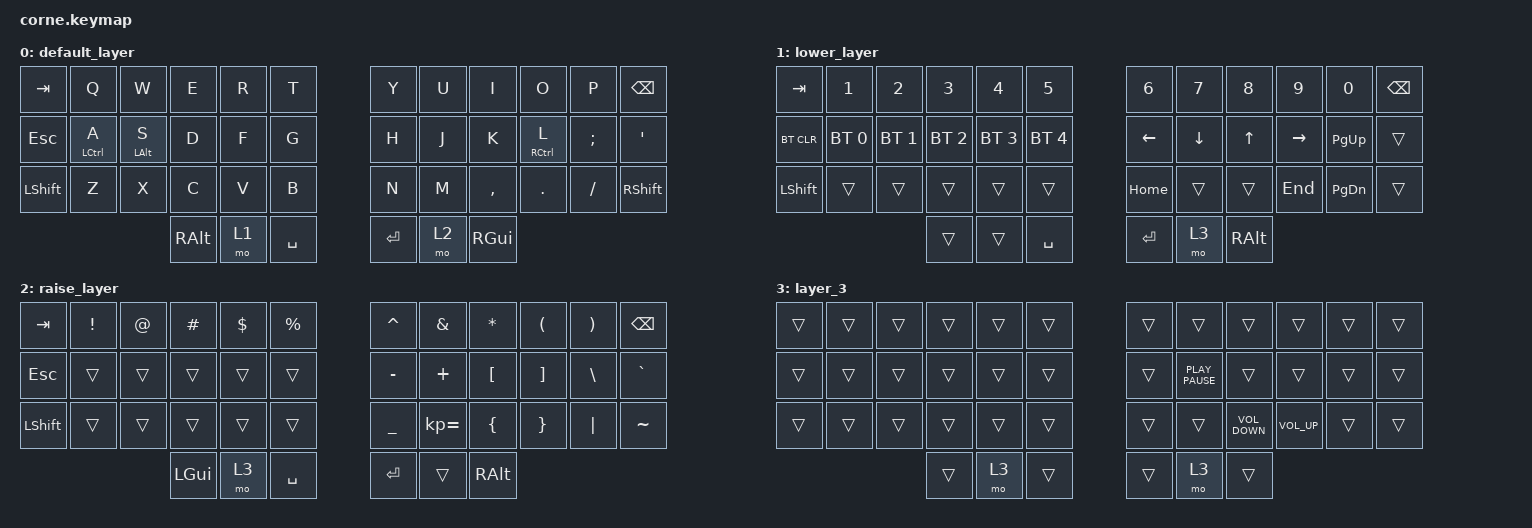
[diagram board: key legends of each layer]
/*
 * Copyright (c) 2020 The ZMK Contributors
 *
 * SPDX-License-Identifier: MIT
 */

#include <behaviors.dtsi>
#include <dt-bindings/zmk/bt.h>
#include <dt-bindings/zmk/keys.h>

/ {
    keymap {
        compatible = "zmk,keymap";

        default_layer {
            // -----------------------------------------------------------------------------------------
            // |  TAB |  Q  |  W  |  E  |  R  |  T  |   |  Y  |  U   |  I  |  O  |  P  | BSPC |
            // | CTRL |  A  |  S  |  D  |  F  |  G  |   |  H  |  J   |  K  |  L  |  ;  |  '   |
            // | SHFT |  Z  |  X  |  C  |  V  |  B  |   |  N  |  M   |  ,  |  .  |  /  | ESC  |
            //                    | GUI | LWR | SPC |   | ENT | RSE  | ALT |

            bindings = <
&kp TAB    &kp Q               &kp W           &kp E          &kp R  &kp T        &kp Y    &kp U  &kp I          &kp O                &kp P     &kp BSPC
&kp ESC    &mt LEFT_CONTROL A  &mt LEFT_ALT S  &kp D          &kp F  &kp G        &kp H    &kp J  &kp K          &mt RIGHT_CONTROL L  &kp SEMI  &kp SQT
&kp LSHFT  &kp Z               &kp X           &kp C          &kp V  &kp B        &kp N    &kp M  &kp COMMA      &kp DOT              &kp FSLH  &kp RIGHT_SHIFT
                                               &kp RIGHT_ALT  &mo 1  &kp SPACE    &kp RET  &mo 2  &kp RIGHT_GUI
            >;
        };

        lower_layer {
            // -----------------------------------------------------------------------------------------
            // |  TAB |  1  |  2  |  3  |  4  |  5  |   |  6  |  7  |  8  |  9  |  0  | BSPC |
            // | BTCLR| BT1 | BT2 | BT3 | BT4 | BT5 |   | LFT | DWN |  UP | RGT |     |      |
            // | SHFT |     |     |     |     |     |   |     |     |     |     |     |      |
            //                    | GUI |     | SPC |   | ENT |     | ALT |

            bindings = <
&kp TAB     &kp N1        &kp N2        &kp N3        &kp N4        &kp N5          &kp N6    &kp N7    &kp N8    &kp N9     &kp N0         &kp BSPC
&bt BT_CLR  &bt BT_SEL 0  &bt BT_SEL 1  &bt BT_SEL 2  &bt BT_SEL 3  &bt BT_SEL 4    &kp LEFT  &kp DOWN  &kp UP    &kp RIGHT  &kp PAGE_UP    &trans
&kp LSHFT   &trans        &trans        &trans        &trans        &trans          &kp HOME  &trans    &trans    &kp END    &kp PAGE_DOWN  &trans
                                        &trans        &trans        &kp SPACE       &kp RET   &mo 3     &kp RALT
            >;
        };

        raise_layer {
            // -----------------------------------------------------------------------------------------
            // |  TAB |  !  |  @  |  #  |  $  |  %  |   |  ^  |  &  |  *  |  (  |  )  | BSPC |
            // | CTRL |     |     |     |     |     |   |  -  |  =  |  [  |  ]  |  \  |  `   |
            // | SHFT |     |     |     |     |     |   |  _  |  +  |  {  |  }  | "|" |  ~   |
            //                    | GUI |     | SPC |   | ENT |     | ALT |

            bindings = <
&kp TAB     &kp EXCL  &kp AT  &kp HASH  &kp DLLR  &kp PRCNT    &kp CARET  &kp AMPS      &kp ASTRK  &kp LPAR  &kp RPAR  &kp BSPC
&kp ESCAPE  &trans    &trans  &trans    &trans    &trans       &kp MINUS  &kp PLUS      &kp LBKT   &kp RBKT  &kp BSLH  &kp GRAVE
&kp LSHFT   &trans    &trans  &trans    &trans    &trans       &kp UNDER  &kp KP_EQUAL  &kp LBRC   &kp RBRC  &kp PIPE  &kp TILDE
                              &kp LGUI  &mo 3     &kp SPACE    &kp RET    &trans        &kp RALT
            >;
        };

        layer_3 {
            bindings = <
&trans  &trans  &trans  &trans  &trans  &trans    &trans  &trans            &trans             &trans        &trans  &trans
&trans  &trans  &trans  &trans  &trans  &trans    &trans  &kp K_PLAY_PAUSE  &trans             &trans        &trans  &trans
&trans  &trans  &trans  &trans  &trans  &trans    &trans  &trans            &kp C_VOLUME_DOWN  &kp C_VOL_UP  &trans  &trans
                        &trans  &mo 3   &trans    &trans  &mo 3             &trans
            >;
        };
    };
};
